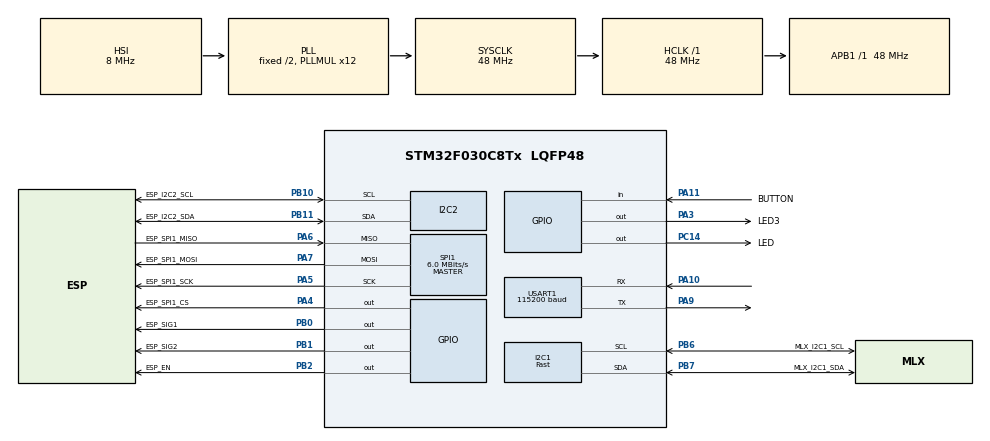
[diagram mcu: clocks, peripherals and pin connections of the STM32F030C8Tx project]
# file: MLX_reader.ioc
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I2C1.I2C_Speed_Mode=I2C_Fast
I2C1.Timing=0x2010091A
I2C2.Timing=0x20303E5D
Mcu.Family=STM32F0
Mcu.Name=STM32F030C8Tx
Mcu.Package=LQFP48
PA10.Mode=Asynchronous
PA10.Signal=USART1_RX
PA11.GPIO_Label=BUTTON
PA11.Signal=GPIO_Input
PA13.Mode=Serial_Wire
PA13.Signal=SYS_SWDIO
PA14.Mode=Serial_Wire
PA14.Signal=SYS_SWCLK
PA3.GPIO_Label=LED3
PA3.Signal=GPIO_Output
PA4.GPIO_Label=ESP_SPI1_CS
PA4.Signal=GPIO_Output
PA5.GPIO_Label=ESP_SPI1_SCK
PA5.Mode=Full_Duplex_Master
PA5.Signal=SPI1_SCK
PA6.GPIO_Label=ESP_SPI1_MISO
PA6.Mode=Full_Duplex_Master
PA6.Signal=SPI1_MISO
PA7.GPIO_Label=ESP_SPI1_MOSI
PA7.Mode=Full_Duplex_Master
PA7.Signal=SPI1_MOSI
PA9.Mode=Asynchronous
PA9.Signal=USART1_TX
PB0.GPIO_Label=ESP_SIG1
PB0.Signal=GPIO_Output
PB1.GPIO_Label=ESP_SIG2
PB1.Signal=GPIO_Output
PB10.GPIO_Label=ESP_I2C2_SCL
PB10.Mode=I2C
PB10.Signal=I2C2_SCL
PB11.GPIO_Label=ESP_I2C2_SDA
PB11.Mode=I2C
PB11.Signal=I2C2_SDA
PB2.GPIO_Label=ESP_EN
PB2.Signal=GPIO_Output
PB6.GPIO_Label=MLX_I2C1_SCL
PB6.Mode=I2C
PB6.Signal=I2C1_SCL
PB7.GPIO_Label=MLX_I2C1_SDA
PB7.Mode=I2C
PB7.Signal=I2C1_SDA
PC14-OSC32_IN.GPIO_Label=LED
PC14-OSC32_IN.Signal=GPIO_Output
PF0-OSC_IN.Mode=HSE-External-Oscillator
PF0-OSC_IN.Signal=RCC_OSC_IN
PF1-OSC_OUT.Mode=HSE-External-Oscillator
PF1-OSC_OUT.Signal=RCC_OSC_OUT
ProjectManager.HeapSize=0x200
ProjectManager.StackSize=0x400
ProjectManager.TargetToolchain=STM32CubeIDE
RCC.AHBFreq_Value=48000000
RCC.APB1Freq_Value=48000000
RCC.APB1TimFreq_Value=48000000
RCC.HCLKFreq_Value=48000000
RCC.I2c1ClockSelection=RCC_I2C1CLKSOURCE_SYSCLK
RCC.PLLMUL=RCC_PLL_MUL12
RCC.SYSCLKFreq_VALUE=48000000
RCC.SYSCLKSource=RCC_SYSCLKSOURCE_PLLCLK
SPI1.BaudRatePrescaler=SPI_BAUDRATEPRESCALER_8
SPI1.CalculateBaudRate=6.0 MBits/s
SPI1.DataSize=SPI_DATASIZE_16BIT
SPI1.Direction=SPI_DIRECTION_2LINES
SPI1.FirstBit=SPI_FIRSTBIT_MSB
SPI1.Mode=SPI_MODE_MASTER
SPI1.NSSPMode=SPI_NSS_PULSE_DISABLE
SPI1.VirtualType=VM_MASTER
USART1.BaudRate=115200
USART1.VirtualMode-Asynchronous=VM_ASYNC
board=custom

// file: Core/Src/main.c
/* USER CODE BEGIN Header */
/**
  ******************************************************************************
  * @file           : main.c
  * @brief          : Main program body
  ******************************************************************************
  * @attention
  *
  * <h2><center>&copy; Copyright (c) 2021 STMicroelectronics.
  * All rights reserved.</center></h2>
  *
  * This software component is licensed by ST under BSD 3-Clause license,
  * the "License"; You may not use this file except in compliance with the
  * License. You may obtain a copy of the License at:
  *                        opensource.org/licenses/BSD-3-Clause
  *
  ******************************************************************************
  */
/* USER CODE END Header */
#include "main.h"
#include "i2c.h"
#include "spi.h"
#include "usart.h"
#include "gpio.h"

/* USER CODE BEGIN Includes */
#include <stdarg.h>
#include "MLX90621_BG.h"
/* USER CODE END Includes */

void SystemClock_Config(void);
/* USER CODE BEGIN PFP */
void UART_print(char* format, ...){

	char buffer[100];
	uint8_t size = 0;
	buffer[0] = '\0';

	va_list argList;

	va_start(argList, format);
	size = vsprintf(buffer, format, argList);

	HAL_StatusTypeDef status =  HAL_UART_Transmit(&huart1, (uint8_t *)buffer, size, 10);

	va_end(argList);

}
/* USER CODE END PFP */

int main(void)
{

  /* MCU Configuration--------------------------------------------------------*/

  /* Reset of all peripherals, Initializes the Flash interface and the Systick. */
  HAL_Init();

  /* Configure the system clock */
  SystemClock_Config();

  /* Initialize all configured peripherals */
  MX_GPIO_Init();
  MX_I2C1_Init();
  MX_I2C2_Init();
  MX_SPI1_Init();
  MX_USART1_UART_Init();

  /* Infinite loop */
  /* USER CODE BEGIN WHILE */
  MLX * mlx = MLX_Init(&hi2c1); //Lê a EEPROM e configura / read eeprom, set configuration and trimming value
  int16_t IR[64] = {0};
  while (1)
  {
    /* USER CODE END WHILE */

    /* USER CODE BEGIN 3 */

	 // HAL_Delay(50);
	  MLX_read(mlx, IR);

	  HAL_GPIO_TogglePin(LED_GPIO_Port, LED_Pin);

	  HAL_GPIO_WritePin(ESP_SPI1_CS_GPIO_Port, ESP_SPI1_CS_Pin, RESET);
	  HAL_SPI_Transmit(&hspi1, IR, 64, 1000);
	  HAL_GPIO_WritePin(ESP_SPI1_CS_GPIO_Port, ESP_SPI1_CS_Pin, SET);

  }
  /* USER CODE END 3 */
}

void SystemClock_Config(void)
{
  RCC_OscInitTypeDef RCC_OscInitStruct = {0};
  RCC_ClkInitTypeDef RCC_ClkInitStruct = {0};
  RCC_PeriphCLKInitTypeDef PeriphClkInit = {0};

  /** Initializes the RCC Oscillators according to the specified parameters
  * in the RCC_OscInitTypeDef structure.
  */
  RCC_OscInitStruct.OscillatorType = RCC_OSCILLATORTYPE_HSI;
  RCC_OscInitStruct.HSIState = RCC_HSI_ON;
  RCC_OscInitStruct.HSICalibrationValue = RCC_HSICALIBRATION_DEFAULT;
  RCC_OscInitStruct.PLL.PLLState = RCC_PLL_ON;
  RCC_OscInitStruct.PLL.PLLSource = RCC_PLLSOURCE_HSI;
  RCC_OscInitStruct.PLL.PLLMUL = RCC_PLL_MUL12;
  RCC_OscInitStruct.PLL.PREDIV = RCC_PREDIV_DIV1;
  if (HAL_RCC_OscConfig(&RCC_OscInitStruct) != HAL_OK)
  {
    Error_Handler();
  }
  /** Initializes the CPU, AHB and APB buses clocks
  */
  RCC_ClkInitStruct.ClockType = RCC_CLOCKTYPE_HCLK|RCC_CLOCKTYPE_SYSCLK
                              |RCC_CLOCKTYPE_PCLK1;
  RCC_ClkInitStruct.SYSCLKSource = RCC_SYSCLKSOURCE_PLLCLK;
  RCC_ClkInitStruct.AHBCLKDivider = RCC_SYSCLK_DIV1;
  RCC_ClkInitStruct.APB1CLKDivider = RCC_HCLK_DIV1;

  if (HAL_RCC_ClockConfig(&RCC_ClkInitStruct, FLASH_LATENCY_1) != HAL_OK)
  {
    Error_Handler();
  }
  PeriphClkInit.PeriphClockSelection = RCC_PERIPHCLK_USART1|RCC_PERIPHCLK_I2C1;
  PeriphClkInit.Usart1ClockSelection = RCC_USART1CLKSOURCE_PCLK1;
  PeriphClkInit.I2c1ClockSelection = RCC_I2C1CLKSOURCE_SYSCLK;
  if (HAL_RCCEx_PeriphCLKConfig(&PeriphClkInit) != HAL_OK)
  {
    Error_Handler();
  }
}

void Error_Handler(void)
{
  __disable_irq();
  while (1)
  {
  }
}

/************************ (C) COPYRIGHT STMicroelectronics *****END OF FILE****/
